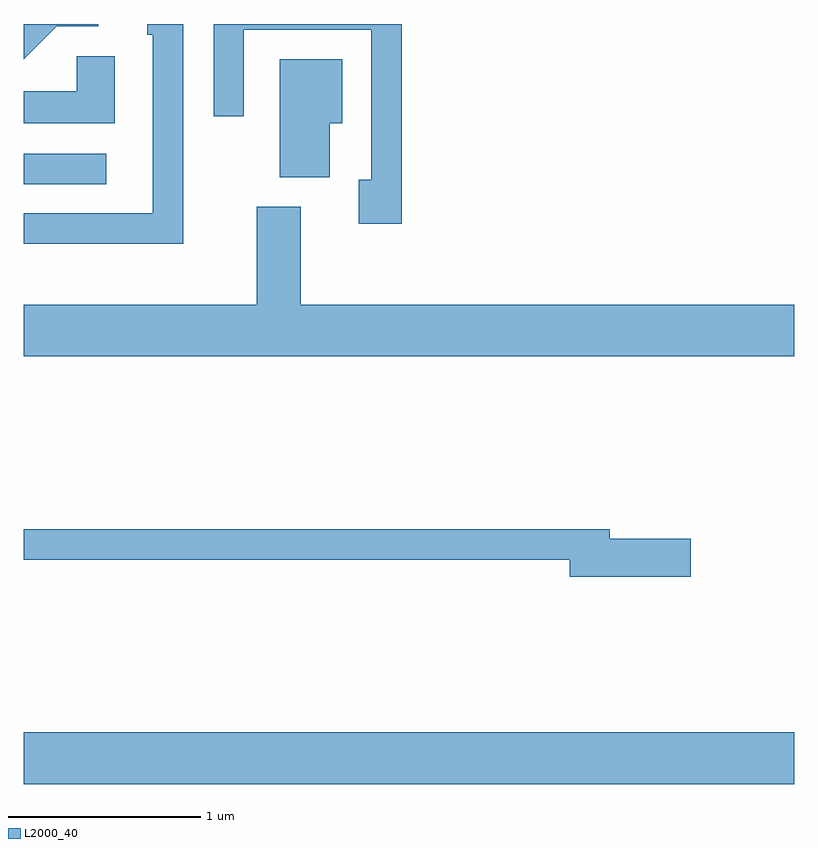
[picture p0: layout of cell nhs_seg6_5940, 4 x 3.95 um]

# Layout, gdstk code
import gdstk
lib = gdstk.Library(unit=1e-6, precision=1e-09)
def R(c, l, rs):  # rectangles x0, y0, x1, y1
    for r in rs: c.add(gdstk.rectangle(r[:2], r[2:], *l))
def P(c, l, *ps):  # polygons
    for p in ps: c.add(gdstk.Polygon(p, *l))
L2000_40 = (2000, 40)

nhs_seg6_5940 = lib.new_cell('nhs_seg6_5940')
R(nhs_seg6_5940, L2000_40, [(365.611,1592.216,369.611,1592.484), (365.611,1595.331,366.038,1595.489)])
P(nhs_seg6_5940, L2000_40, [(366.439,1596.162),(366.251,1596.162),(366.251,1596.106),(366.281,1596.106),(366.281,1595.179),(365.611,1595.179),(365.611,1595.021),(366.439,1595.021)],
  [(367.574,1596.162),(366.596,1596.162),(366.596,1595.683),(366.754,1595.683),(366.754,1596.131),(367.416,1596.131),(367.416,1595.354),(367.351,1595.354),(367.351,1595.126),(367.574,1595.126)],
  [(365.782,1596.151),(365.998,1596.151),(365.998,1596.162),(365.611,1596.162),(365.611,1595.98)],
  [(366.084,1595.994),(365.886,1595.994),(365.886,1595.814),(365.611,1595.814),(365.611,1595.646),(366.084,1595.646)],
  [(367.199,1595.646),(367.264,1595.646),(367.264,1595.979),(366.941,1595.979),(366.941,1595.366),(367.199,1595.366)],
  [(369.611,1594.704),(367.049,1594.704),(367.049,1595.214),(366.821,1595.214),(366.821,1594.704),(365.611,1594.704),(365.611,1594.436),(369.611,1594.436)],
  [(369.074,1593.489),(368.654,1593.489),(368.654,1593.539),(365.611,1593.539),(365.611,1593.381),(368.446,1593.381),(368.446,1593.291),(369.074,1593.291)])

lib.write_gds('nhs_seg6_5940.gds')
